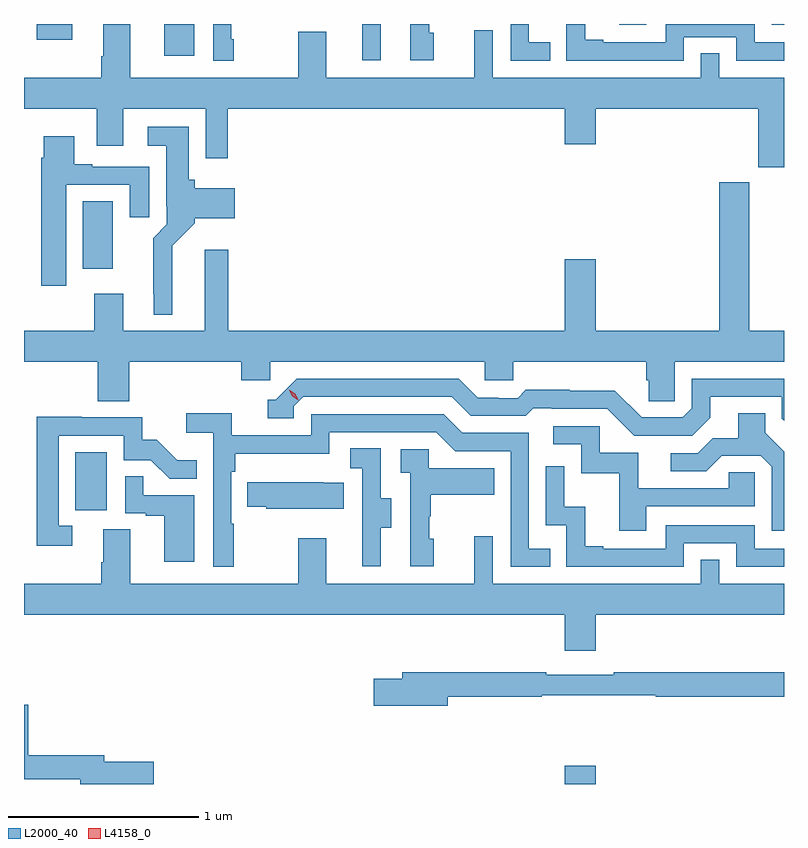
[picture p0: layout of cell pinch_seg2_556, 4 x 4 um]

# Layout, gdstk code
import gdstk
lib = gdstk.Library(unit=1e-6, precision=1e-09)
def R(c, l, rs):  # rectangles x0, y0, x1, y1
    for r in rs: c.add(gdstk.rectangle(r[:2], r[2:], *l))
def P(c, l, *ps):  # polygons
    for p in ps: c.add(gdstk.Polygon(p, *l))
L2000_40 = (2000, 40)
L4158_0 = (4158, 0)

pinch_seg2_556 = lib.new_cell('pinch_seg2_556')
R(pinch_seg2_556, L2000_40, [(1100.072,613.446,1100.236,613.543), (1097.498,614.886,1097.662,615.193), (1097.537,616.158,1097.695,616.514), (1099.007,617.256,1099.105,617.446), (1097.966,617.28,1098.124,617.446), (1097.293,617.364,1097.482,617.446), (1100.359,617.442,1100.503,617.446), (1101.162,617.442,1101.227,617.446)])
P(pinch_seg2_556, L2000_40, [(1099.384,617.4),(1099.359,617.4),(1099.359,617.446),(1099.26,617.446),(1099.26,617.256),(1099.384,617.256)],
  [(1100.7,617.376),(1100.976,617.376),(1100.976,617.253),(1101.227,617.253),(1101.227,617.349),(1101.072,617.349),(1101.072,617.446),(1100.604,617.446),(1100.604,617.349),(1100.275,617.349),(1100.275,617.362),(1100.18,617.362),(1100.18,617.446),(1100.082,617.446),(1100.082,617.253),(1100.7,617.253)],
  [(1099.997,617.349),(1099.884,617.349),(1099.884,617.446),(1099.788,617.446),(1099.788,617.253),(1099.997,617.253)],
  [(1098.331,617.365),(1098.318,617.365),(1098.318,617.446),(1098.222,617.446),(1098.222,617.253),(1098.331,617.253)],
  [(1101.227,617.164),(1100.886,617.164),(1100.886,617.291),(1100.79,617.291),(1100.79,617.164),(1099.695,617.164),(1099.695,617.413),(1099.598,617.413),(1099.598,617.164),(1098.817,617.164),(1098.817,617.404),(1098.67,617.404),(1098.67,617.164),(1097.785,617.164),(1097.785,617.446),(1097.645,617.446),(1097.645,617.276),(1097.633,617.276),(1097.633,617.164),(1097.227,617.164),(1097.227,617),(1097.609,617),(1097.609,616.806),(1097.749,616.806),(1097.749,617),(1098.183,617),(1098.183,616.74),(1098.299,616.74),(1098.299,617),(1100.072,617),(1100.072,616.812),(1100.236,616.812),(1100.236,617),(1101.092,617),(1101.092,616.691),(1101.227,616.691)],
  [(1098.007,616.28),(1098.125,616.398),(1098.125,616.424),(1098.337,616.424),(1098.337,616.582),(1098.125,616.582),(1098.125,616.626),(1098.094,616.626),(1098.094,616.906),(1097.877,616.906),(1097.877,616.805),(1097.975,616.805),(1097.975,616.486),(1097.979,616.486),(1097.979,616.392),(1097.906,616.319),(1097.906,616.027),(1097.909,616.027),(1097.909,615.917),(1098.007,615.917)],
  [(1097.449,616.599),(1097.783,616.599),(1097.783,616.428),(1097.887,616.428),(1097.887,616.695),(1097.587,616.695),(1097.587,616.708),(1097.491,616.708),(1097.491,616.855),(1097.33,616.855),(1097.33,616.742),(1097.318,616.742),(1097.318,616.068),(1097.449,616.068)],
  [(1097.78,615.668),(1098.371,615.668),(1098.371,615.57),(1098.522,615.57),(1098.522,615.668),(1099.653,615.668),(1099.653,615.57),(1099.803,615.57),(1099.803,615.668),(1100.501,615.668),(1100.501,615.57),(1100.515,615.57),(1100.515,615.46),(1100.652,615.46),(1100.652,615.668),(1101.227,615.668),(1101.227,615.832),(1101.045,615.832),(1101.045,616.612),(1100.885,616.612),(1100.885,615.832),(1100.236,615.832),(1100.236,616.207),(1100.072,616.207),(1100.072,615.832),(1098.302,615.832),(1098.302,616.258),(1098.179,616.258),(1098.179,615.832),(1097.749,615.832),(1097.749,616.027),(1097.597,616.027),(1097.597,615.832),(1097.227,615.832),(1097.227,615.668),(1097.615,615.668),(1097.615,615.46),(1097.78,615.46)],
  [(1100.839,615.373),(1100.839,615.483),(1101.216,615.483),(1101.216,615.369),(1101.227,615.358),(1101.227,615.579),(1100.742,615.579),(1100.742,615.423),(1100.694,615.375),(1100.478,615.375),(1100.336,615.517),(1100.1,615.517),(1100.1,615.52),(1099.867,615.52),(1099.825,615.477),(1099.722,615.477),(1099.722,615.48),(1099.615,615.48),(1099.516,615.579),(1098.663,615.579),(1098.552,615.468),(1098.509,615.468),(1098.509,615.372),(1098.648,615.372),(1098.648,615.435),(1098.696,615.483),(1099.479,615.483),(1099.578,615.384),(1099.867,615.384),(1099.906,615.423),(1100.005,615.423),(1100.005,615.42),(1100.298,615.42),(1100.439,615.279),(1100.745,615.279)],
  [(1098.331,614.816),(1098.318,614.816),(1098.318,615.089),(1098.338,615.089),(1098.338,615.185),(1098.834,615.185),(1098.834,615.297),(1099.398,615.297),(1099.497,615.198),(1099.788,615.198),(1099.788,614.589),(1099.997,614.589),(1099.997,614.685),(1099.884,614.685),(1099.884,615.294),(1099.534,615.294),(1099.435,615.393),(1098.738,615.393),(1098.738,615.282),(1098.32,615.282),(1098.32,615.398),(1098.081,615.398),(1098.081,615.296),(1098.222,615.296),(1098.222,614.589),(1098.331,614.589)],
  [(1101.227,615.196),(1101.127,615.296),(1101.127,615.398),(1100.987,615.398),(1100.987,615.266),(1100.852,615.266),(1100.772,615.186),(1100.631,615.186),(1100.631,615.093),(1100.818,615.093),(1100.899,615.174),(1101.105,615.174),(1101.162,615.117),(1101.162,614.778),(1101.227,614.778)],
  [(1097.482,614.805),(1097.409,614.805),(1097.409,615.279),(1097.751,615.279),(1097.751,615.15),(1097.895,615.15),(1097.993,615.052),(1098.137,615.052),(1098.137,615.151),(1098.033,615.151),(1097.926,615.258),(1097.85,615.258),(1097.85,615.375),(1097.531,615.375),(1097.531,615.38),(1097.293,615.38),(1097.293,614.7),(1097.482,614.7)],
  [(1100.503,614.907),(1101.072,614.907),(1101.072,615.087),(1100.935,615.087),(1100.935,615.003),(1100.461,615.003),(1100.461,615.189),(1100.256,615.189),(1100.256,615.33),(1100.013,615.33),(1100.013,615.234),(1100.16,615.234),(1100.16,615.081),(1100.359,615.081),(1100.359,614.778),(1100.503,614.778)],
  [(1099.105,614.794),(1099.159,614.794),(1099.159,614.949),(1099.104,614.949),(1099.104,615.212),(1098.945,615.212),(1098.945,615.109),(1099.008,615.109),(1099.008,614.805),(1099.007,614.805),(1099.007,614.592),(1099.105,614.592)],
  [(1099.384,614.736),(1099.359,614.736),(1099.359,614.855),(1099.369,614.855),(1099.369,614.969),(1099.703,614.969),(1099.703,615.109),(1099.356,615.109),(1099.356,615.207),(1099.209,615.207),(1099.209,615.083),(1099.26,615.083),(1099.26,614.592),(1099.384,614.592)],
  [(1100.7,614.712),(1100.976,614.712),(1100.976,614.589),(1101.227,614.589),(1101.227,614.685),(1101.072,614.685),(1101.072,614.808),(1100.604,614.808),(1100.604,614.685),(1100.275,614.685),(1100.275,614.698),(1100.18,614.698),(1100.18,614.906),(1100.07,614.906),(1100.07,615.118),(1099.974,615.118),(1099.974,614.808),(1100.082,614.808),(1100.082,614.589),(1100.7,614.589)],
  [(1098.124,614.967),(1097.855,614.967),(1097.855,615.065),(1097.76,615.065),(1097.76,614.871),(1097.867,614.871),(1097.867,614.859),(1097.966,614.859),(1097.966,614.616),(1098.124,614.616)],
  [(1098.911,615.031),(1098.803,615.031),(1098.803,615.034),(1098.403,615.034),(1098.403,614.905),(1098.501,614.905),(1098.501,614.894),(1098.911,614.894)],
  [(1100.236,614.336),(1101.227,614.336),(1101.227,614.5),(1100.886,614.5),(1100.886,614.627),(1100.79,614.627),(1100.79,614.5),(1099.695,614.5),(1099.695,614.749),(1099.598,614.749),(1099.598,614.5),(1098.817,614.5),(1098.817,614.74),(1098.67,614.74),(1098.67,614.5),(1097.785,614.5),(1097.785,614.786),(1097.645,614.786),(1097.645,614.612),(1097.633,614.612),(1097.633,614.5),(1097.227,614.5),(1097.227,614.336),(1100.072,614.336),(1100.072,614.148),(1100.236,614.148)],
  [(1099.456,613.906),(1099.952,613.906),(1099.952,613.914),(1100.552,613.914),(1100.552,613.906),(1101.227,613.906),(1101.227,614.035),(1100.332,614.035),(1100.332,614.022),(1099.976,614.022),(1099.976,614.035),(1099.217,614.035),(1099.217,614.001),(1099.068,614.001),(1099.068,613.859),(1099.456,613.859)],
  [(1097.911,613.562),(1097.65,613.562),(1097.65,613.598),(1097.249,613.598),(1097.249,613.864),(1097.227,613.864),(1097.227,613.47),(1097.522,613.47),(1097.522,613.446),(1097.911,613.446)])
P(pinch_seg2_556, L4158_0, [(1098.67,615.467),(1098.639,615.487),(1098.623,615.52),(1098.623,615.52),(1098.623,615.52),(1098.654,615.5),(1098.67,615.467),(1098.67,615.467)])

lib.write_gds('pinch_seg2_556.gds')
